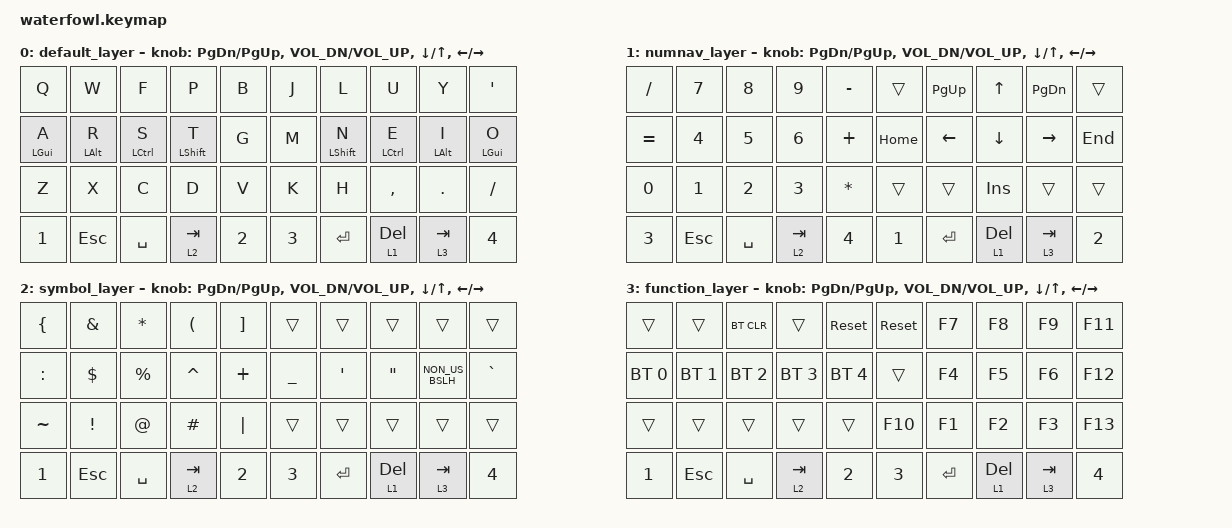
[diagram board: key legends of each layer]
/*
 * Copyright (c) 2022 The ZMK Contributors
 *
 * SPDX-License-Identifier: MIT
 */

#include <behaviors.dtsi>
#include <dt-bindings/zmk/keys.h>
#include <dt-bindings/zmk/bt.h>

/ {
    keymap {
        compatible = "zmk,keymap";

        default_layer {
/* COLEMAK
 *
 * ,----------------------------------.                      ,----------------------------------.
 * |   Q  |   W  |   F  |   P  |   B  |                      |   J  |   L  |   U  |   Y  |   "  |
 * |------+------+------+------+------|                      |------+------+------+------+------|
 * |   A  |   R  |   S  |   T  |   G  |                      |   M  |   N  |   E  |   I  |   O  |
 * |------+------+------+------+------|  ,-----.    ,-----.  |------+------+------+------+------|
 * |   Z  |   X  |   C  |   D  |   V  |  |  2  |    |  3  |  |   K  |   H  |   ,  |   .  |   /  |
 * `----------------------------------'  `-----'    `-----'  `----------------------------------'
 *          ,-----.   ,--------------------.            ,--------------------.   ,-----.
 *          |  1  |   | ESC | SPACE | TAB  |            | ENTER | BKSP | DEL |   |  4  |
 *          `-----'   `--------------------'            `--------------------'   `-----'
 */
            bindings = <
    &kp Q       &kp W       &kp F       &kp P       &kp B           &kp J   &kp L       &kp U       &kp Y       &kp SQT
    &mt LGUI A  &mt LALT R  &mt LCTRL S &mt LSHFT T &kp G           &kp M   &mt LSHFT N &mt LCTRL E &mt LALT I  &mt LGUI O
    &kp Z       &kp X       &kp C       &kp D       &kp V           &kp K   &kp H       &kp COMMA   &kp DOT     &kp FSLH
    &kp N1      &kp ESC     &kp SPACE   &lt 2 TAB   &kp N2          &kp N3  &kp RET     &lt 1 DEL   &lt 3 TAB   &kp N4
            >;

            sensor-bindings = <
                &inc_dec_kp PAGE_DOWN PAGE_UP
                &inc_dec_kp C_VOL_DN C_VOL_UP
                &inc_dec_kp DOWN UP
                &inc_dec_kp LEFT RIGHT
            >;
        };

        numnav_layer {
/* NUMNAV
 *
 * ,----------------------------------.                      ,----------------------------------.
 * |   /  |   7  |   8  |   9  |   -  |                      |      | PgUp |  UP  | PgDn |      |
 * |------+------+------+------+------|                      |------+------+------+------+------|
 * |   =  |   4  |   5  |   6  |   +  |                      | Home | Left | Down | Right| End  |
 * |------+------+------+------+------|  ,-----.    ,-----.  |------+------+------+------+------|
 * |   0  |   1  |   2  |   3  |   *  |  |     |    |     |  |      |      |  INS |      |      |
 * `----------------------------------'  `-----'    `-----'  `----------------------------------'
 *          ,-----.   ,--------------------.            ,--------------------.   ,-----.
 *          |  1  |   |  ESC | SPACE | TAB |            | ENTER | BKSP | DEL |   |  4  |
 *          `-----'   `--------------------'            `--------------------'   `-----'
 */
            bindings = <
    &kp FSLH    &kp N7  &kp N8      &kp N9      &kp MINUS                   &trans      &kp PG_UP   &kp UP      &kp PG_DN   &trans
    &kp EQUAL   &kp N4  &kp N5      &kp N6      &kp PLUS                    &kp HOME    &kp LEFT    &kp DOWN    &kp RIGHT   &kp END
    &kp N0      &kp N1  &kp N2      &kp N3      &kp ASTERISK                &trans      &trans      &kp INS     &trans      &trans
    &kp N3      &kp ESC &kp SPACE   &lt 2 TAB   &kp N4                      &kp N1      &kp RET     &lt 1 DEL   &lt 3 TAB   &kp N2
            >;

            sensor-bindings = <
                &inc_dec_kp PAGE_DOWN PAGE_UP
                &inc_dec_kp C_VOL_DN C_VOL_UP
                &inc_dec_kp DOWN UP
                &inc_dec_kp LEFT RIGHT
            >;
        };

        symbol_layer {
/* SYM
 *
 * ,----------------------------------.                      ,----------------------------------.
 * |   {  |   &  |   *  |   (  |   }  |                      |      |      |      |      |      |
 * |------+------+------+------+------|                      |------+------+------+------+------|
 * |   :  |   $  |   %  |   ^  |   +  |                      |   _  |   (  |   )  |   \  |   `  |
 * |------+------+------+------+------|  ,-----.    ,-----.  |------+------+------+------+------|
 * |   ~  |   !  |   @  |   #  |   |  |  |  2  |    |  3  |  |      |      |      |      |      |
 * `----------------------------------'  `-----'    `-----'  `----------------------------------'
 *          ,-----.   ,--------------------.            ,--------------------.   ,-----.
 *          |  1  |   | ESC | SPACE | TAB  |            | ENTER | BKSP | DEL |   |  4  |
 *          `-----'   `--------------------'            `--------------------'   `-----'
 */

            bindings = <
    &kp LBRC      &kp AMPS    &kp ASTERISK  &kp LPAR    &kp RBKT        &trans           &trans          &trans              &trans            &trans
    &kp COLON     &kp DLLR    &kp PRCNT     &kp CARET   &kp PLUS        &kp UNDER        &kp APOS        &kp DOUBLE_QUOTES   &kp NON_US_BSLH   &kp GRAVE
    &kp TILDE     &kp EXCL    &kp AT        &kp POUND   &kp PIPE        &trans           &trans          &trans              &trans            &trans
    &kp N1        &kp ESC     &kp SPACE     &lt 2 TAB   &kp N2          &kp N3           &kp RET         &lt 1 DEL           &lt 3 TAB         &kp N4
            >;

            sensor-bindings = <
                &inc_dec_kp PAGE_DOWN PAGE_UP
                &inc_dec_kp C_VOL_DN C_VOL_UP
                &inc_dec_kp DOWN UP
                &inc_dec_kp LEFT RIGHT
            >;
        };

        function_layer {
/* FUNC
 *
 * ,----------------------------------.                      ,----------------------------------.
 * |      |      | BTCLR|      | Reset|                      | Reset|  F7  |  F8  |  F9  |  F11 |
 * |------+------+------+------+------|                      |------+------+------+------+------|
 * |  BT0 |  BT1 |  BT2 |  BT3 |  BT4 |                      |      |  F4  |  F5  |  F6  |  F12 |
 * |------+------+------+------+------|  ,-----.    ,-----.  |------+------+------+------+------|
 * |      |      |      |      |      |  |  2  |    |  3  |  |  F10 |  F1  |  F2  |  F3  |  F13 |
 * `----------------------------------'  `-----'    `-----'  `----------------------------------'
 *          ,-----.   ,--------------------.            ,--------------------.   ,-----.
 *          |  1  |   | ESC | SPACE |  TAB |            | ENTER | BKSP | DEL |   |  4  |
 *          `-----'   `--------------------'            `--------------------'   `-----'
 */
            bindings = <
    &trans          &trans          &bt BT_CLR      &trans          &sys_reset          &sys_reset  &kp F7  &kp F8      &kp F9      &kp F11
    &bt BT_SEL 0    &bt BT_SEL 1    &bt BT_SEL 2    &bt BT_SEL 3    &bt BT_SEL 4        &trans      &kp F4  &kp F5      &kp F6      &kp F12
    &trans          &trans          &trans          &trans          &trans              &kp F10     &kp F1  &kp F2      &kp F3      &kp F13
    &kp N1          &kp ESC         &kp SPACE       &lt 2 TAB       &kp N2              &kp N3      &kp RET &lt 1 DEL   &lt 3 TAB   &kp N4
            >;

            sensor-bindings = <
                &inc_dec_kp PAGE_DOWN PAGE_UP
                &inc_dec_kp C_VOL_DN C_VOL_UP
                &inc_dec_kp DOWN UP
                &inc_dec_kp LEFT RIGHT
            >;
        };

    };
};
